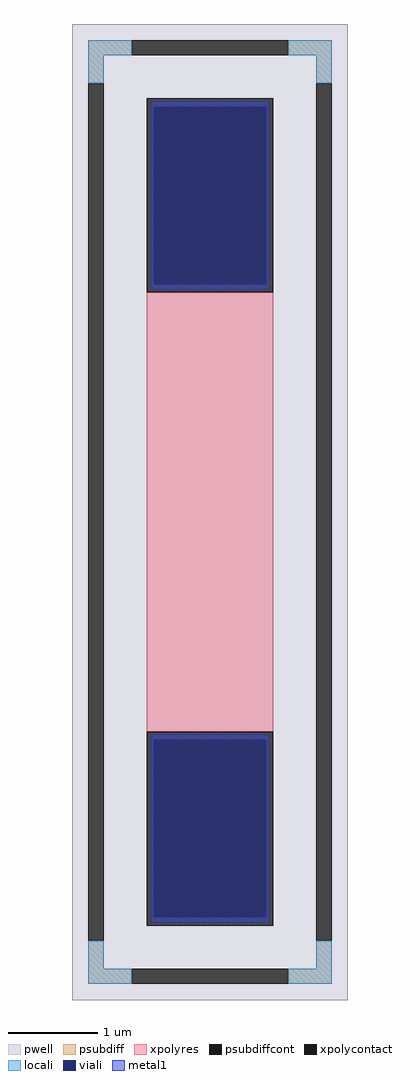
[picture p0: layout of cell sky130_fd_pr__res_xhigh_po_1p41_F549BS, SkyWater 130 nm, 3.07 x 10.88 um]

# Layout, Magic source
magic
tech sky130A
magscale 1 2
<< pwell >>
rect -307 -1088 307 1088
<< psubdiff >>
rect -271 1018 -175 1052
rect 175 1018 271 1052
rect -271 956 -237 1018
rect 237 956 271 1018
rect -271 -1018 -237 -956
rect 237 -1018 271 -956
rect -271 -1052 -175 -1018
rect 175 -1052 271 -1018
<< psubdiffcont >>
rect -175 1018 175 1052
rect -271 -956 -237 956
rect 237 -956 271 956
rect -175 -1052 175 -1018
<< xpolycontact >>
rect -141 490 141 922
rect -141 -922 141 -490
<< xpolyres >>
rect -141 -490 141 490
<< locali >>
rect -271 1018 -175 1052
rect 175 1018 271 1052
rect -271 956 -237 1018
rect 237 956 271 1018
rect -271 -1018 -237 -956
rect 237 -1018 271 -956
rect -271 -1052 -175 -1018
rect 175 -1052 271 -1018
<< viali >>
rect -125 507 125 904
rect -125 -904 125 -507
<< metal1 >>
rect -131 904 131 916
rect -131 507 -125 904
rect 125 507 131 904
rect -131 495 131 507
rect -131 -507 131 -495
rect -131 -904 -125 -507
rect 125 -904 131 -507
rect -131 -916 131 -904
<< properties >>
string FIXED_BBOX -254 -1035 254 1035
string gencell sky130_fd_pr__res_xhigh_po_1p41
string library sky130
string parameters w 1.410 l 5.064 m 1 nx 1 wmin 1.410 lmin 0.50 rho 2000 val 7.449k dummy 0 dw 0.0 term 188.2 sterm 0.0 caplen 0 wmax 1.410 guard 1 glc 1 grc 1 gtc 1 gbc 1 compatible {sky130_fd_pr__res_xhigh_po_0p35  sky130_fd_pr__res_xhigh_po_0p69 sky130_fd_pr__res_xhigh_po_1p41  sky130_fd_pr__res_xhigh_po_2p85 sky130_fd_pr__res_xhigh_po_5p73} snake 0 full_metal 1 n_guard 0 hv_guard 0 vias 1 viagb 0 viagt 0 viagl 0 viagr 0
<< end >>
